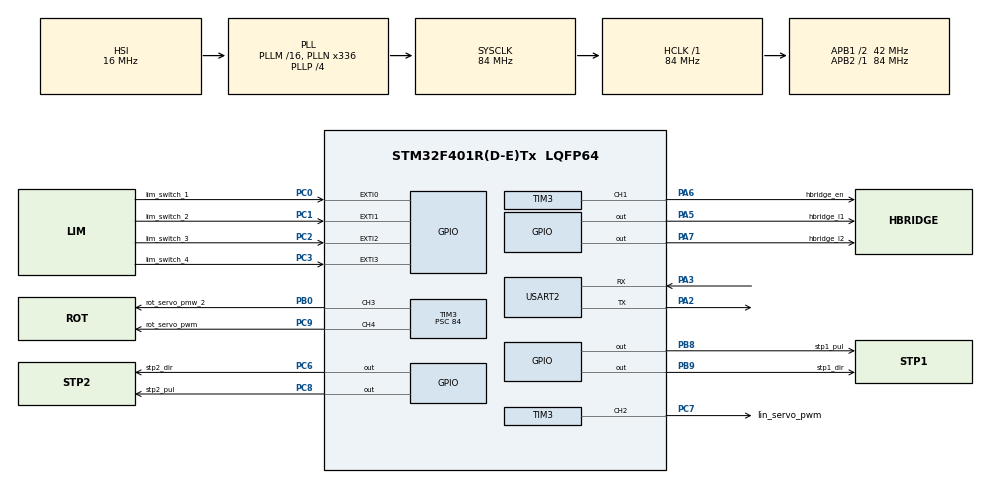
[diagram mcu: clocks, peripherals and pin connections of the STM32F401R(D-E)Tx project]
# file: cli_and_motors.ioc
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FREERTOS.Tasks01=defaultTask,24,128,StartDefaultTask,Default,NULL,Dynamic,NULL,NULL
FREERTOS.configENABLE_FPU=1
FREERTOS.configUSE_NEWLIB_REENTRANT=1
Mcu.Family=STM32F4
Mcu.Name=STM32F401R(D-E)Tx
Mcu.Package=LQFP64
NVIC.EXTI0_IRQn=true\:5\:0\:false\:false\:true\:true\:true\:true\:true
NVIC.EXTI1_IRQn=true\:5\:0\:false\:false\:true\:true\:true\:true\:true
NVIC.EXTI2_IRQn=true\:5\:0\:false\:false\:true\:true\:true\:true\:true
NVIC.EXTI3_IRQn=true\:5\:0\:false\:false\:true\:true\:true\:true\:true
NVIC.PriorityGroup=NVIC_PRIORITYGROUP_4
NVIC.TIM5_IRQn=true\:15\:0\:false\:false\:true\:false\:false\:true\:true
NVIC.TimeBase=TIM5_IRQn
NVIC.TimeBaseIP=TIM5
NVIC.USART2_IRQn=true\:5\:0\:false\:false\:true\:true\:true\:true\:true
PA2.Mode=Asynchronous
PA2.Signal=USART2_TX
PA3.Mode=Asynchronous
PA3.Signal=USART2_RX
PA5.GPIO_Label=hbridge_l1
PA5.Signal=GPIO_Output
PA6.GPIO_Label=hbridge_en
PA6.Signal=S_TIM3_CH1
PA7.GPIO_Label=hbridge_l2
PA7.Signal=GPIO_Output
PB0.GPIO_Label=rot_servo_pmw_2
PB0.Signal=S_TIM3_CH3
PB8.GPIO_Label=stp1_pul
PB8.Signal=GPIO_Output
PB9.GPIO_Label=stp1_dir
PB9.Signal=GPIO_Output
PC0.GPIO_Label=lim_switch_1
PC0.GPIO_ModeDefaultEXTI=GPIO_MODE_IT_RISING
PC0.GPIO_PuPd=GPIO_NOPULL
PC0.Signal=GPXTI0
PC1.GPIO_Label=lim_switch_2
PC1.GPIO_ModeDefaultEXTI=GPIO_MODE_IT_RISING
PC1.Signal=GPXTI1
PC2.GPIO_Label=lim_switch_3
PC2.GPIO_ModeDefaultEXTI=GPIO_MODE_IT_RISING
PC2.Signal=GPXTI2
PC3.GPIO_Label=lim_switch_4
PC3.GPIO_ModeDefaultEXTI=GPIO_MODE_IT_RISING
PC3.Signal=GPXTI3
PC6.GPIO_Label=stp2_dir
PC6.Signal=GPIO_Output
PC7.GPIO_Label=lin_servo_pwm
PC7.Signal=S_TIM3_CH2
PC8.GPIO_Label=stp2_pul
PC8.Signal=GPIO_Output
PC9.GPIO_Label=rot_servo_pwm
PC9.Signal=S_TIM3_CH4
ProjectManager.HeapSize=0x200
ProjectManager.StackSize=0x400
ProjectManager.TargetToolchain=STM32CubeIDE
RCC.48MHZClocksFreq_Value=84000000
RCC.AHBFreq_Value=84000000
RCC.APB1CLKDivider=RCC_HCLK_DIV2
RCC.APB1Freq_Value=42000000
RCC.APB1TimFreq_Value=84000000
RCC.APB2Freq_Value=84000000
RCC.APB2TimFreq_Value=84000000
RCC.CortexFreq_Value=84000000
RCC.HCLKFreq_Value=84000000
RCC.HSE_VALUE=25000000
RCC.HSI_VALUE=16000000
RCC.LSE_VALUE=32768
RCC.PLLN=336
RCC.PLLP=RCC_PLLP_DIV4
RCC.SYSCLKFreq_VALUE=84000000
RCC.SYSCLKSource=RCC_SYSCLKSOURCE_PLLCLK
RCC.VCOOutputFreq_Value=336000000
SH.S_TIM3_CH1.0=TIM3_CH1,PWM Generation1 CH1
SH.S_TIM3_CH2.0=TIM3_CH2,PWM Generation2 CH2
SH.S_TIM3_CH3.0=TIM3_CH3,PWM Generation3 CH3
SH.S_TIM3_CH4.0=TIM3_CH4,PWM Generation4 CH4
TIM3.Channel-PWM\ Generation1\ CH1=TIM_CHANNEL_1
TIM3.Channel-PWM\ Generation2\ CH2=TIM_CHANNEL_2
TIM3.Channel-PWM\ Generation3\ CH3=TIM_CHANNEL_3
TIM3.Channel-PWM\ Generation4\ CH4=TIM_CHANNEL_4
TIM3.Period=20000
TIM3.Prescaler=84
USART2.VirtualMode=VM_ASYNC
VP_FREERTOS_VS_CMSIS_V2.Mode=CMSIS_V2
VP_SYS_VS_tim5.Mode=TIM5
VP_TIM3_VS_ClockSourceINT.Mode=Internal
board=custom

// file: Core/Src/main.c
/* USER CODE BEGIN Header */
/**
  ******************************************************************************
  * @file           : main.c
  * @brief          : Main program body
  ******************************************************************************
  * @attention
  *
  * Copyright (c) 2025 STMicroelectronics.
  * All rights reserved.
  *
  * This software is licensed under terms that can be found in the LICENSE file
  * in the root directory of this software component.
  * If no LICENSE file comes with this software, it is provided AS-IS.
  *
  ******************************************************************************
  */
/* USER CODE END Header */
#include "main.h"
#include "cmsis_os.h"
#include "tim.h"
#include "usart.h"
#include "gpio.h"

/* USER CODE BEGIN PV */

volatile uint8_t stepper_x_stop;
volatile uint8_t stepper_y_stop;

#define DEBOUNCE_DELAY 50 // milliseconds

uint32_t last_debounce_1 = 0;
uint32_t last_debounce_2 = 0;

/* USER CODE END PV */

void SystemClock_Config(void);
void MX_FREERTOS_Init(void);

int main(void)
{

  /* USER CODE BEGIN 1 */

  stepper_x_stop = 0;
  stepper_y_stop = 0;

  /* USER CODE END 1 */

  /* MCU Configuration--------------------------------------------------------*/

  /* Reset of all peripherals, Initializes the Flash interface and the Systick. */
  HAL_Init();

  /* Configure the system clock */
  SystemClock_Config();

  /* Initialize all configured peripherals */
  MX_GPIO_Init();
  MX_USART2_UART_Init();
  MX_TIM3_Init();

  /* Init scheduler */
  osKernelInitialize();

  /* Call init function for freertos objects (in cmsis_os2.c) */
  MX_FREERTOS_Init();

  HAL_UART_Receive_IT(&huart2, (uint8_t *)&huart2.Instance->DR, 1);

  /* Start scheduler */
  osKernelStart();

  /* We should never get here as control is now taken by the scheduler */

  /* Infinite loop */
  while (1)
  {

  }
}

void SystemClock_Config(void)
{
  RCC_OscInitTypeDef RCC_OscInitStruct = {0};
  RCC_ClkInitTypeDef RCC_ClkInitStruct = {0};

  /** Configure the main internal regulator output voltage
  */
  __HAL_RCC_PWR_CLK_ENABLE();
  __HAL_PWR_VOLTAGESCALING_CONFIG(PWR_REGULATOR_VOLTAGE_SCALE2);

  /** Initializes the RCC Oscillators according to the specified parameters
  * in the RCC_OscInitTypeDef structure.
  */
  RCC_OscInitStruct.OscillatorType = RCC_OSCILLATORTYPE_HSI;
  RCC_OscInitStruct.HSIState = RCC_HSI_ON;
  RCC_OscInitStruct.HSICalibrationValue = RCC_HSICALIBRATION_DEFAULT;
  RCC_OscInitStruct.PLL.PLLState = RCC_PLL_ON;
  RCC_OscInitStruct.PLL.PLLSource = RCC_PLLSOURCE_HSI;
  RCC_OscInitStruct.PLL.PLLM = 16;
  RCC_OscInitStruct.PLL.PLLN = 336;
  RCC_OscInitStruct.PLL.PLLP = RCC_PLLP_DIV4;
  RCC_OscInitStruct.PLL.PLLQ = 4;
  if (HAL_RCC_OscConfig(&RCC_OscInitStruct) != HAL_OK)
  {
    Error_Handler();
  }

  /** Initializes the CPU, AHB and APB buses clocks
  */
  RCC_ClkInitStruct.ClockType = RCC_CLOCKTYPE_HCLK|RCC_CLOCKTYPE_SYSCLK
                              |RCC_CLOCKTYPE_PCLK1|RCC_CLOCKTYPE_PCLK2;
  RCC_ClkInitStruct.SYSCLKSource = RCC_SYSCLKSOURCE_PLLCLK;
  RCC_ClkInitStruct.AHBCLKDivider = RCC_SYSCLK_DIV1;
  RCC_ClkInitStruct.APB1CLKDivider = RCC_HCLK_DIV2;
  RCC_ClkInitStruct.APB2CLKDivider = RCC_HCLK_DIV1;

  if (HAL_RCC_ClockConfig(&RCC_ClkInitStruct, FLASH_LATENCY_2) != HAL_OK)
  {
    Error_Handler();
  }
}

/* USER CODE BEGIN 4 */

void HAL_GPIO_EXTI_Callback(uint16_t GPIO_Pin)
{
  uint32_t now = HAL_GetTick();

  if (GPIO_Pin == lim_switch_1_Pin)
  {
//    if ((now - last_debounce_1) > DEBOUNCE_DELAY)
//    {
//      last_debounce_1 = now;
      if (HAL_GPIO_ReadPin(lim_switch_1_GPIO_Port, lim_switch_1_Pin) == GPIO_PIN_SET){
        stepper_x_stop = 1;
        __DSB();
//      }
    }
  }
  else if (GPIO_Pin == lim_switch_2_Pin)
  {
//    if ((now - last_debounce_2) > DEBOUNCE_DELAY)
//    {
//      last_debounce_2 = now;
      if (HAL_GPIO_ReadPin(lim_switch_2_GPIO_Port, lim_switch_2_Pin) == GPIO_PIN_SET){
        stepper_y_stop = 1;
        __DSB();
      }
//    }
  }
}

/* USER CODE END 4 */

void HAL_TIM_PeriodElapsedCallback(TIM_HandleTypeDef *htim)
{
  if (htim->Instance == TIM5) {
    HAL_IncTick();
  }
}

void Error_Handler(void)
{
  __disable_irq();
  while (1)
  {
  }
}

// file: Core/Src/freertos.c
/* USER CODE BEGIN Header */
/**
  ******************************************************************************
  * File Name          : freertos.c
  * Description        : Code for freertos applications
  ******************************************************************************
  * @attention
  *
  * Copyright (c) 2025 STMicroelectronics.
  * All rights reserved.
  *
  * This software is licensed under terms that can be found in the LICENSE file
  * in the root directory of this software component.
  * If no LICENSE file comes with this software, it is provided AS-IS.
  *
  ******************************************************************************
  */
/* USER CODE END Header */

#include "FreeRTOS.h"
#include "task.h"
#include "main.h"
#include "cmsis_os.h"

/* USER CODE BEGIN Includes */
#include "cli_app.h"
#include "stepper.h"
#include "actuators.h"
/* USER CODE END Includes */

/* USER CODE BEGIN Variables */
osThreadId_t cmdLineTaskHandle; // new command line task
const osThreadAttr_t cmdLineTask_attributes = {
  .name = "cmdLineTask", // defined in cli_app.c
  .priority = (osPriority_t) osPriorityLow,
  .stack_size = 128 * 4
};
osThreadId_t stepperXTaskHandle; // new command line task
const osThreadAttr_t stepperXTask_attributes = {
  .name = "stepperXTask", // defined in cli_app.c
  .priority = (osPriority_t) osPriorityLow,
  .stack_size = 128 * 4
};
osThreadId_t stepperYTaskHandle; // new command line task
const osThreadAttr_t stepperYTask_attributes = {
  .name = "stepperYTask", // defined in cli_app.c
  .priority = (osPriority_t) osPriorityLow,
  .stack_size = 128 * 4
};
osThreadId_t rotServoTaskHandle; // new command line task
const osThreadAttr_t rotServoTask_attributes = {
  .name = "rotServoTask", // defined in cli_app.c
  .priority = (osPriority_t) osPriorityLow,
  .stack_size = 128 * 4
};
osThreadId_t rotServoTaskHandle2; // new command line task
const osThreadAttr_t rotServoTask2_attributes = {
  .name = "rot2ServoTask", // defined in cli_app.c
  .priority = (osPriority_t) osPriorityLow,
  .stack_size = 128 * 4
};
osThreadId_t linServoTaskHandle; // new command line task
const osThreadAttr_t linServoTask_attributes = {
  .name = "linServoTask", // defined in cli_app.c
  .priority = (osPriority_t) osPriorityLow,
  .stack_size = 128 * 4
};
osThreadId_t linActTaskHandle; // new command line task
const osThreadAttr_t linActTask_attributes = {
  .name = "linActTask", // defined in cli_app.c
  .priority = (osPriority_t) osPriorityLow,
  .stack_size = 128 * 4
};

/* USER CODE END Variables */
/* Definitions for defaultTask */
osThreadId_t defaultTaskHandle;
const osThreadAttr_t defaultTask_attributes = {
  .name = "defaultTask",
  .stack_size = 128 * 4,
  .priority = (osPriority_t) osPriorityNormal,
};

void StartDefaultTask(void *argument);

void MX_FREERTOS_Init(void); /* (MISRA C 2004 rule 8.1) */

void MX_FREERTOS_Init(void) {

  /* Create the thread(s) */
  /* creation of defaultTask */
  defaultTaskHandle = osThreadNew(StartDefaultTask, NULL, &defaultTask_attributes);

  /* USER CODE BEGIN RTOS_THREADS */
  /* add threads, ... */
  cmdLineTaskHandle = osThreadNew(vCommandConsoleTask, NULL, &cmdLineTask_attributes);
  stepperXTaskHandle = osThreadNew(vStepperControlX, NULL, &stepperXTask_attributes);
  stepperYTaskHandle = osThreadNew(vStepperControlY, NULL, &stepperYTask_attributes);
  rotServoTaskHandle = osThreadNew(vServoControl, NULL, &rotServoTask_attributes);
  rotServoTaskHandle2 = osThreadNew(vServoControl2, NULL, &rotServoTask2_attributes);
  linServoTaskHandle = osThreadNew(vLinServoControl, NULL, &linServoTask_attributes);
  linActTaskHandle = osThreadNew(vLinActControl, NULL, &linActTask_attributes);
  /* USER CODE END RTOS_THREADS */

}

void StartDefaultTask(void *argument)
{
  for(;;)
  {
    osDelay(1);
  }
}
